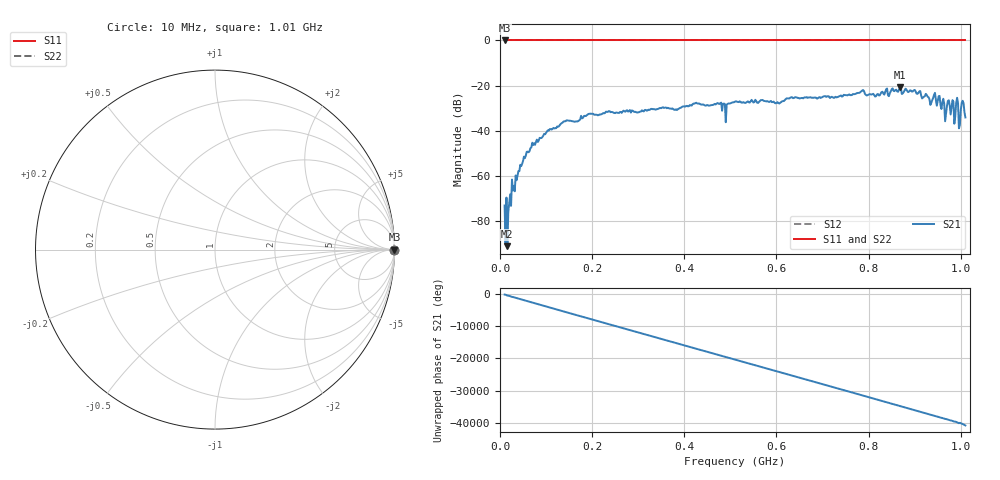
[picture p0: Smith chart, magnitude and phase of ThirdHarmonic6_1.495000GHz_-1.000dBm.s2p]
! 8/16/2025 5:32:27 PM
! C:\ANRITSUVNA\TEMP\TEMP.S2P
! CHANNEL.1
! TR.MEASUREMENT
! RAW.DATA
! RF.CORRECTION.OFF
! AVERAGING.OFF
! IF.BANDWIDTH: 5KHZ
! SWEEPTYPE:  FREQ.SWEEP(Linear)
! Reference Plane Port Info
! PORT:  PORT1  PORT2
! DISTANCE:  0  m  0  m
! TIME:  0  s  0  s
! PHASE.OFFSET:  0  deg.  0  deg.
! LOSS:  0  dB  0  dB
! REF.LOSS:  0  dB  0  dB
! REF.FREQ:  0  Hz  0  Hz
! Power Info
! POWER:  -20  dBm  -20  dBm
! EFF.POWER:  -20  dBm  -20  dBm
! SOURCE.ATTEN:  0  dB  0  dB
! TEST.ATTEN:  0  dB  0  dB
# GHZ S RI R 50.0
! FREQ.GHZ  S11RE  S11IM  S21RE  S21IM  S12RE  S12IM  S22RE  S22IM
!; PortSelection: Port_12
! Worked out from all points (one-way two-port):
!   501 points, 10 MHz to 1.01 GHz, reference 50 ohm
!   highest |S21| = -20.51 dB at 868 MHz (marker M1); lowest = -91.0 dB at 16 MHz (marker M2)
!   lowest |S11| = 0.0 dB at 10 MHz (marker M3)
!   |S11| at or under -10 dB: nowhere
!   |S22| runs from 0.0 to 0.0 dB; largest |S21 - S12| = 1.1
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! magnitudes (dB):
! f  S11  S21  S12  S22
! 10 MHz  0.0  -73.0  0.0  0.0
! 16 MHz  0.0  -91.0  0.0  0.0
! 30 MHz  0.0  -64.3  0.0  0.0
! 42 MHz  0.0  -57.8  0.0  0.0
! 70 MHz  0.0  -45.2  0.0  0.0
! 106 MHz  0.0  -39.9  0.0  0.0
! 178 MHz  0.0  -34.4  0.0  0.0
! 344 MHz  0.0  -30.2  0.0  0.0
! 476 MHz  0.0  -28.1  0.0  0.0
! 486 MHz  0.0  -27.9  0.0  0.0
! 510 MHz  0.0  -27.1  0.0  0.0
! 678 MHz  0.0  -25.3  0.0  0.0
! 844 MHz  0.0  -24.6  0.0  0.0
! 868 MHz  0.0  -20.5  0.0  0.0
! 908 MHz  0.0  -23.2  0.0  0.0
! 934 MHz  0.0  -28.5  0.0  0.0
! 942 MHz  0.0  -24.0  0.0  0.0
! 966 MHz  0.0  -35.7  0.0  0.0
! 980 MHz  0.0  -29.4  0.0  0.0
! 998 MHz  0.0  -37.5  0.0  0.0
! 1.004 GHz  0.0  -26.7  0.0  0.0
! 1.01 GHz  0.0  -34.1  0.0  0.0
